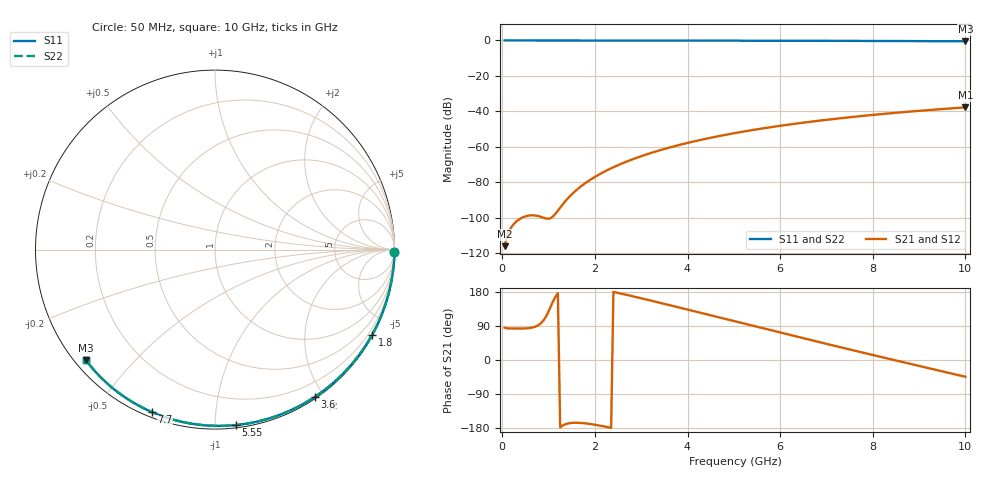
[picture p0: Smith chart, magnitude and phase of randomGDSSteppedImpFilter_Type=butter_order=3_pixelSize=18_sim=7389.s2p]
! freq	dB(S11)	phase(S11)	dB(S12)	phase(S12)
!  dB(S21)	phase(S21)	dB(S22)	phase(S22)
!S-par simulation data
#  GHz  S  DB  R 50
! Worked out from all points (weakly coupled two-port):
!   200 points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, 50 MHz to 10 GHz, reference 50 ohm
!   highest |S21| = -37.77 dB at 10 GHz (marker M1); lowest = -116.1 dB at 50 MHz (marker M2)
!   lowest |S11| = -0.5 dB at 10 GHz (marker M3), VSWR 36.79, Z = 1.54 - j18.4 ohm
!   |S11| at or under -10 dB: nowhere
!   |S22| runs from -0.5 to 0.0 dB; largest |S21 - S12| = 0
!   S11 on the Smith chart (normalised r, x): 50 MHz: open; 1.8 GHz: 0.03, -3.92; 3.6 GHz: 0.02, -1.89; 5.55 GHz: 0.02, -1.12; 7.7 GHz: 0.02, -0.68; 10 GHz: 0.03, -0.37
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0.05  -0.00 -0.8  -116.10 85.2  -116.10 85.2  -0.00 -0.8
0.45  -0.01 -7.3  -99.76 83.1  -99.76 83.1  -0.01 -7.3
0.9  -0.02 -14.4  -100.17 106.2  -100.17 106.2  -0.02 -14.4
1.75  -0.04 -27.8  -81.33 -166.6  -81.33 -166.6  -0.04 -27.8
1.8  -0.04 -28.6  -80.38 -167.3  -80.38 -167.3  -0.04 -28.6
1.85  -0.04 -29.4  -79.48 -168.0  -79.48 -168.0  -0.04 -29.4
2.05  -0.04 -32.5  -76.23 -171.9  -76.23 -171.9  -0.04 -32.5
2.2  -0.04 -34.8  -74.10 -175.3  -74.10 -175.3  -0.04 -34.8
2.55  -0.05 -40.1  -69.80 175.6  -69.80 175.6  -0.05 -40.1
2.95  -0.06 -46.2  -65.76 164.3  -65.76 164.3  -0.06 -46.2
3.4  -0.07 -52.9  -61.99 151.1  -61.99 151.1  -0.07 -52.9
3.6  -0.08 -55.8  -60.50 145.1  -60.50 145.1  -0.08 -55.8
3.9  -0.08 -60.2  -58.46 136.1  -58.46 136.1  -0.08 -60.2
4.3  -0.09 -66.0  -56.02 123.9  -56.02 123.9  -0.09 -66.0
5.05  -0.12 -76.5  -52.14 101.2  -52.14 101.2  -0.12 -76.5
5.55  -0.14 -83.3  -49.93 86.0  -49.93 86.0  -0.14 -83.3
6.1  -0.16 -90.7  -47.79 69.4  -47.79 69.4  -0.16 -90.7
6.7  -0.19 -98.5  -45.73 51.5  -45.73 51.5  -0.19 -98.5
7.7  -0.25 -111.2  -42.80 22.0  -42.80 22.0  -0.25 -111.2
8.35  -0.31 -119.3  -41.17 3.0  -41.17 3.0  -0.31 -119.3
9.2  -0.38 -129.7  -39.30 -21.4  -39.30 -21.4  -0.38 -129.7
10  -0.47 -139.5  -37.77 -44.3  -37.77 -44.3  -0.47 -139.5
